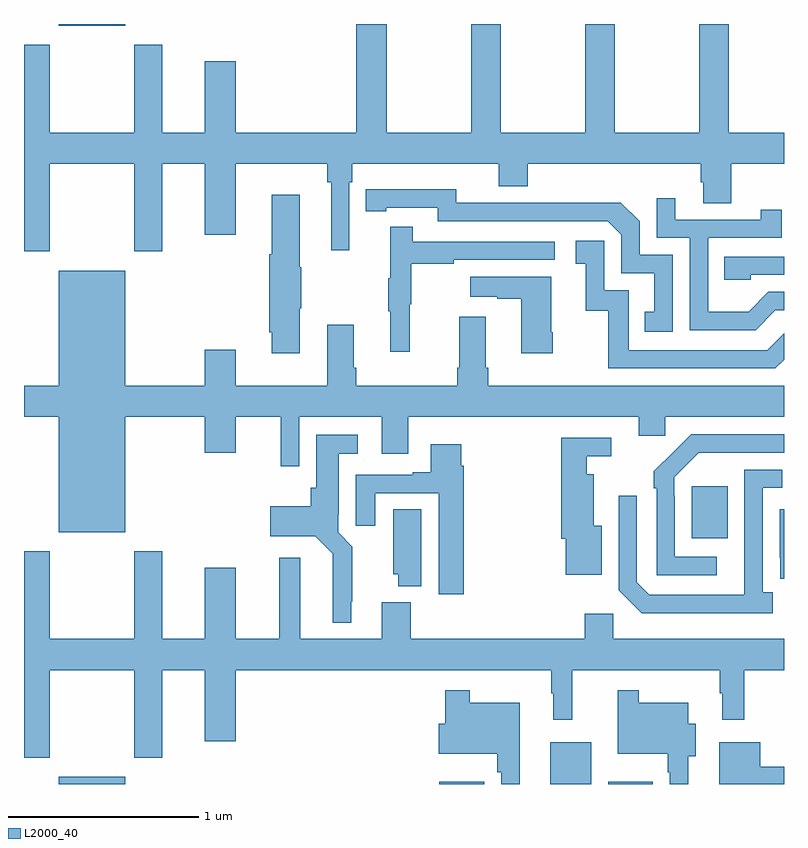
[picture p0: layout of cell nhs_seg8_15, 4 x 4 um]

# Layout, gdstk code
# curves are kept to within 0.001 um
import gdstk
lib = gdstk.Library(unit=1e-6, precision=1e-09)
def R(c, l, rs):  # rectangles x0, y0, x1, y1
    for r in rs: c.add(gdstk.rectangle(r[:2], r[2:], *l))
def P(c, l, *ps):  # polygons
    for p in ps: c.add(gdstk.Polygon(p, *l))
L2000_40 = (2000, 40)

nhs_seg8_15 = lib.new_cell('nhs_seg8_15')
R(nhs_seg8_15, L2000_40, [(111.182,1115.9,111.532,1115.938), (113.186,1115.9,113.422,1115.911), (113.771,1115.9,113.986,1116.121), (114.074,1115.9,114.31,1115.911), (114.515,1117.193,114.703,1117.468), (111.182,1119.89,111.532,1119.9)])
P(nhs_seg8_15, L2000_40, [(111.135,1119.164),(111.58,1119.164),(111.58,1118.703),(111.727,1118.703),(111.727,1119.164),(111.95,1119.164),(111.95,1118.79),(112.114,1118.79),(112.114,1119.164),(112.597,1119.164),(112.597,1119.068),(112.616,1119.068),(112.616,1118.709),(112.713,1118.709),(112.713,1119.068),(112.727,1119.068),(112.727,1119.164),(113.498,1119.164),(113.498,1119.047),(113.651,1119.047),(113.651,1119.164),(114.563,1119.164),(114.563,1119.066),(114.575,1119.066),(114.575,1118.956),(114.723,1118.956),(114.723,1119.164),(115,1119.164),(115,1119.328),(114.708,1119.328),(114.708,1119.9),(114.553,1119.9),(114.553,1119.328),(114.108,1119.328),(114.108,1119.9),(113.953,1119.9),(113.953,1119.328),(113.508,1119.328),(113.508,1119.9),(113.353,1119.9),(113.353,1119.328),(112.908,1119.328),(112.908,1119.9),(112.748,1119.9),(112.748,1119.328),(112.114,1119.328),(112.114,1119.703),(111.95,1119.703),(111.95,1119.328),(111.727,1119.328),(111.727,1119.79),(111.58,1119.79),(111.58,1119.328),(111.135,1119.328),(111.135,1119.79),(111,1119.79),(111,1118.703),(111.135,1118.703)],
  [(114.414,1118.685),(114.24,1118.685),(114.24,1118.862),(114.142,1118.96),(113.734,1118.96),(113.734,1118.958),(113.274,1118.958),(113.274,1119.031),(112.798,1119.03),(112.798,1118.914),(112.906,1118.914),(112.906,1118.934),(113.178,1118.934),(113.178,1118.862),(114.072,1118.862),(114.144,1118.79),(114.144,1118.589),(114.317,1118.589),(114.317,1118.385),(114.268,1118.385),(114.268,1118.28),(114.414,1118.28)],
  [(112.45,1118.404),(112.458,1118.404),(112.458,1118.621),(112.45,1118.621),(112.45,1119.001),(112.304,1119.001),(112.304,1118.688),(112.292,1118.688),(112.292,1118.278),(112.304,1118.278),(112.304,1118.166),(112.45,1118.166)],
  [(114.955,1118.394),(115,1118.394),(115,1118.49),(114.918,1118.49),(114.814,1118.386),(114.6,1118.386),(114.6,1118.775),(114.989,1118.775),(114.989,1118.923),(114.878,1118.923),(114.878,1118.871),(114.427,1118.871),(114.427,1118.983),(114.33,1118.983),(114.33,1118.775),(114.504,1118.775),(114.504,1118.289),(114.85,1118.289)],
  [(113.03,1118.424),(113.038,1118.424),(113.038,1118.638),(113.261,1118.638),(113.261,1118.658),(113.794,1118.658),(113.794,1118.754),(113.045,1118.754),(113.045,1118.833),(112.928,1118.833),(112.928,1118.561),(112.917,1118.561),(112.917,1118.387),(112.928,1118.387),(112.928,1118.175),(113.03,1118.175)],
  [(115,1118.134),(115,1118.272),(114.912,1118.184),(114.183,1118.184),(114.183,1118.499),(114.054,1118.499),(114.054,1118.758),(113.904,1118.758),(113.904,1118.637),(113.957,1118.637),(113.957,1118.391),(114.075,1118.391),(114.075,1118.088),(114.954,1118.088)],
  [(114.825,1118.58),(115,1118.58),(115,1118.676),(114.685,1118.676),(114.685,1118.553),(114.825,1118.553)],
  [(111.532,1117.832),(111.95,1117.832),(111.95,1117.644),(112.114,1117.644),(112.114,1117.832),(112.351,1117.832),(112.351,1117.572),(112.449,1117.572),(112.449,1117.832),(112.883,1117.832),(112.883,1117.638),(113.023,1117.638),(113.023,1117.832),(114.236,1117.832),(114.236,1117.734),(114.375,1117.734),(114.375,1117.832),(115,1117.832),(115,1117.996),(113.444,1117.996),(113.444,1118.092),(113.431,1118.092),(113.431,1118.359),(113.291,1118.359),(113.291,1118.092),(113.279,1118.092),(113.279,1117.996),(112.748,1117.996),(112.748,1118.092),(112.735,1118.092),(112.735,1118.317),(112.595,1118.317),(112.595,1117.996),(112.114,1117.996),(112.114,1118.185),(111.95,1118.185),(111.95,1117.996),(111.532,1117.996),(111.532,1118.602),(111.182,1118.602),(111.182,1117.996),(111,1117.996),(111,1117.832),(111.182,1117.832),(111.182,1117.226),(111.532,1117.226)],
  [(113.784,1118.278),(113.776,1118.278),(113.776,1118.569),(113.349,1118.569),(113.349,1118.465),(113.492,1118.465),(113.492,1118.455),(113.618,1118.455),(113.618,1118.166),(113.784,1118.166)],
  [(114.646,1117.095),(114.426,1117.095),(114.426,1117.415),(114.423,1117.415),(114.423,1117.515),(114.552,1117.644),(115,1117.644),(115,1117.74),(114.512,1117.74),(114.315,1117.545),(114.315,1117.457),(114.33,1117.457),(114.33,1116.999),(114.646,1116.999)],
  [(112.723,1116.859),(112.727,1116.859),(112.727,1117.15),(112.653,1117.224),(112.653,1117.318),(112.657,1117.318),(112.657,1117.637),(112.756,1117.637),(112.756,1117.738),(112.538,1117.738),(112.538,1117.458),(112.508,1117.458),(112.508,1117.363),(112.296,1117.363),(112.296,1117.205),(112.533,1117.205),(112.626,1117.112),(112.625,1116.749),(112.723,1116.749)],
  [(114.04,1117.258),(113.998,1117.258),(113.998,1117.531),(113.962,1117.531),(113.962,1117.626),(114.091,1117.626),(114.091,1117.722),(113.828,1117.722),(113.828,1117.191),(113.852,1117.191),(113.852,1117.001),(114.04,1117.001)],
  [(113.315,1117.574),(113.302,1117.574),(113.302,1117.687),(113.141,1117.687),(113.141,1117.54),(113.045,1117.54),(113.045,1117.527),(112.745,1117.527),(112.745,1117.26),(112.849,1117.26),(112.849,1117.431),(113.183,1117.431),(113.183,1116.9),(113.315,1116.9)],
  [(114.94,1116.91),(114.888,1116.91),(114.888,1117.458),(114.991,1117.458),(114.991,1117.554),(114.792,1117.554),(114.791,1116.897),(114.291,1116.897),(114.225,1116.963),(114.225,1117.417),(114.129,1117.417),(114.129,1116.921),(114.25,1116.8),(114.94,1116.8)],
  [(113.092,1117.346),(112.943,1117.346),(112.943,1117.005),(112.97,1117.005),(112.97,1116.941),(113.092,1116.941)],
  [(115,1117.345),(114.978,1117.345),(114.978,1117.09),(114.979,1117.09),(114.979,1116.981),(115,1116.981)],
  [(111.135,1116.5),(111.58,1116.5),(111.58,1116.039),(111.727,1116.039),(111.727,1116.5),(111.95,1116.5),(111.95,1116.126),(112.114,1116.126),(112.114,1116.5),(113.775,1116.5),(113.775,1116.377),(113.786,1116.377),(113.786,1116.237),(113.886,1116.237),(113.886,1116.5),(114.663,1116.5),(114.663,1116.377),(114.674,1116.377),(114.674,1116.237),(114.791,1116.237),(114.791,1116.5),(115,1116.5),(115,1116.664),(114.102,1116.664),(114.102,1116.796),(113.951,1116.796),(113.951,1116.664),(113.036,1116.664),(113.036,1116.856),(112.883,1116.856),(112.883,1116.664),(112.453,1116.664),(112.453,1117.09),(112.343,1117.09),(112.343,1116.664),(112.114,1116.664),(112.114,1117.039),(111.95,1117.039),(111.95,1116.664),(111.727,1116.664),(111.727,1117.126),(111.58,1117.126),(111.58,1116.664),(111.135,1116.664),(111.135,1117.126),(111,1117.126),(111,1116.039),(111.135,1116.039)],
  [(113.608,1116.328),(113.347,1116.328),(113.347,1116.394),(113.218,1116.394),(113.218,1116.217),(113.184,1116.217),(113.184,1116.059),(113.491,1116.059),(113.491,1115.963),(113.511,1115.963),(113.511,1115.9),(113.608,1115.9)],
  [(114.496,1116.047),(114.535,1116.047),(114.535,1116.217),(114.496,1116.217),(114.496,1116.328),(114.235,1116.328),(114.235,1116.394),(114.126,1116.394),(114.126,1116.059),(114.387,1116.059),(114.387,1115.963),(114.399,1115.963),(114.399,1115.9),(114.496,1115.9)],
  [(115,1115.99),(114.874,1115.99),(114.874,1116.121),(114.659,1116.121),(114.659,1115.9),(115,1115.9)])

lib.write_gds('nhs_seg8_15.gds')
